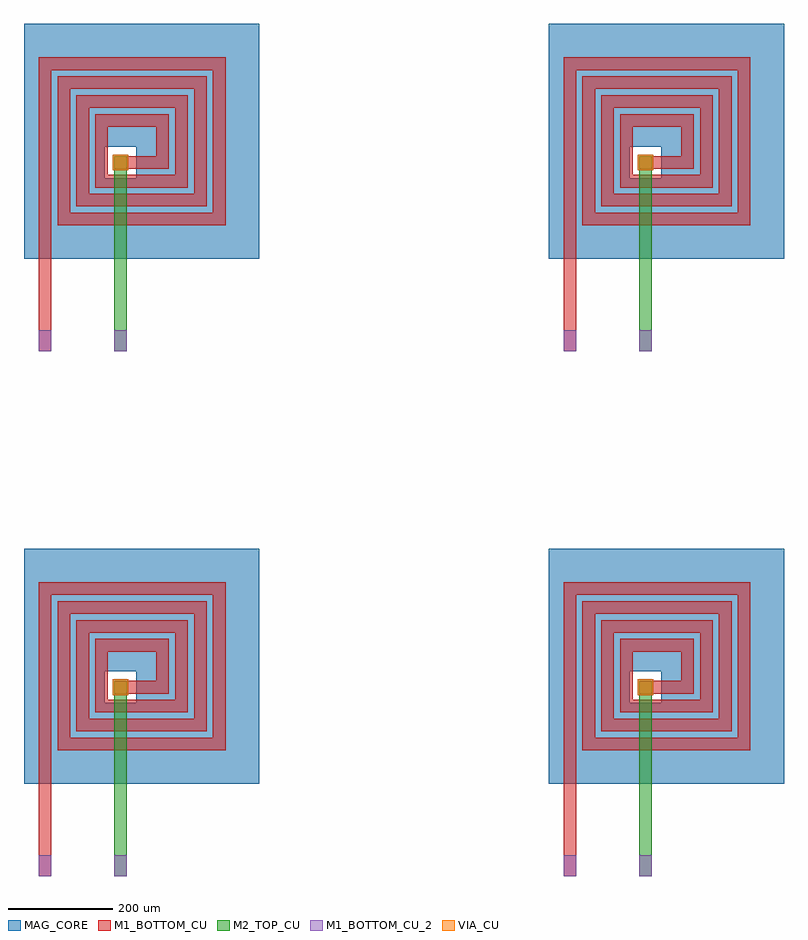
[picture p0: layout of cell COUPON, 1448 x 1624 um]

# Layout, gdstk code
import gdstk
lib = gdstk.Library(unit=1e-6, precision=1e-09)
def R(c, l, rs):  # rectangles x0, y0, x1, y1
    for r in rs: c.add(gdstk.rectangle(r[:2], r[2:], *l))
def P(c, l, *ps):  # polygons
    for p in ps: c.add(gdstk.Polygon(p, *l))
M1_BOTTOM_CU = (1, 0)
M1_BOTTOM_CU_2 = (1, 2)
VIA_CU = (2, 0)
M2_TOP_CU = (3, 0)
MAG_CORE = (10, 0)

inductor_die = lib.new_cell('INDUCTOR_DIE')
R(inductor_die, M1_BOTTOM_CU, [(-196,-400,-172,-172), (-196,-196,-172,160), (-160,-160,-136,124), (-160,-160,160,-136), (136,-160,160,160), (-124,-124,-100,88), (-124,-124,124,-100), (100,-124,124,124), (-88,-88,-64,52), (-88,-88,88,-64), (64,-88,88,88), (-52,-52,52,-28), (28,-52,52,52), (-88,28,52,52), (-124,64,88,88), (-160,100,124,124), (-196,136,160,160)])
R(inductor_die, M1_BOTTOM_CU_2, [(-196,-400,-172,-360), (-52,-400,-28,-360)])
R(inductor_die, VIA_CU, [(-55,-55,-25,-25)])
R(inductor_die, M2_TOP_CU, [(-52,-400,-28,-28)])
P(inductor_die, MAG_CORE, [(224,224),(-224,224),(-224,-70),(-70,-70),(-70,-10),(-10,-10),(-10,-70),(-70,-70),(-224,-70),(-224,-224),(224,-224)])
inductor_die.add(gdstk.Label('L1', (-380,380), layer=63, texttype=0))

coupon = lib.new_cell('COUPON')
r = gdstk.Reference(inductor_die, (0,0)); r.repetition = gdstk.Repetition(2, 2, v1=(1000,0), v2=(0,1000)); coupon.add(r)

lib.write_gds('COUPON.gds')
